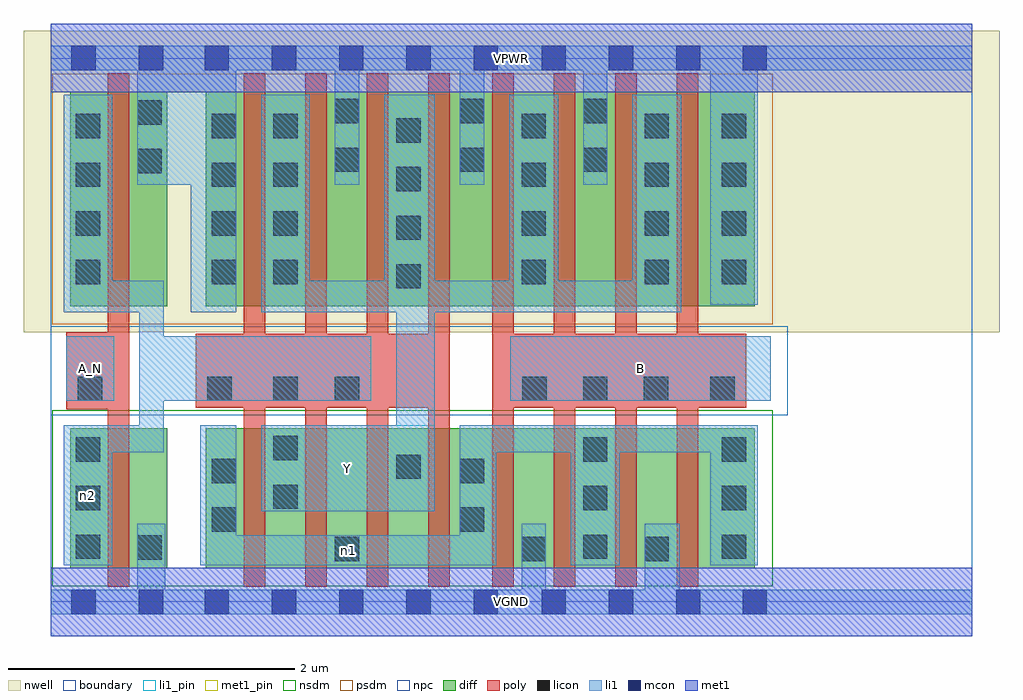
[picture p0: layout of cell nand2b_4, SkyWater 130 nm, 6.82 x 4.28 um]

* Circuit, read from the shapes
.subckt nand2b_4 A_N B VGND VPWR Y n1 n2
XM1 VGND A_N n2 VSUBS sky130_fd_pr__nfet_01v8 w=0.98 l=0.15
XM2 Y n2 n1 VSUBS sky130_fd_pr__nfet_01v8 w=0.98 l=0.15 m=4
XM3 VGND B n1 VSUBS sky130_fd_pr__nfet_01v8 w=0.98 l=0.15 m=4
XM4 VPWR A_N n2 n3 sky130_fd_pr__pfet_01v8 w=1.5 l=0.15
XM5 Y n2 VPWR n3 sky130_fd_pr__pfet_01v8 w=1.5 l=0.15 m=4
XM6 Y B VPWR n3 sky130_fd_pr__pfet_01v8 w=1.5 l=0.15 m=4
.ends

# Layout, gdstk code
import gdstk
lib = gdstk.Library(unit=1e-6, precision=1e-09)
def R(c, l, rs):  # rectangles x0, y0, x1, y1
    for r in rs: c.add(gdstk.rectangle(r[:2], r[2:], *l))
def A(c, l, x, y, w, h, nx, ny, dx, dy):  # array of equal rectangles
    R(c, l, [(x+i*dx, y+j*dy, x+i*dx+w, y+j*dy+h) for i in range(nx) for j in range(ny)])
nwell = (64, 20)
diff = (65, 20)
poly = (66, 20)
licon = (66, 44)
li1_pin = (67, 16)
li1 = (67, 20)
mcon = (67, 44)
met1_pin = (68, 16)
met1 = (68, 20)
nsdm = (93, 44)
psdm = (94, 20)
npc = (95, 20)
boundary = (235, 4)

nand2b_4 = lib.new_cell('nand2b_4')
R(nand2b_4, nwell, [(-0.19,1.885,6.63,3.99), (0,1.885,6.44,3.99)])
R(nand2b_4, diff, [(0.135,0.235,0.815,1.215), (1.085,0.235,4.92,1.215), (0.135,2.065,0.815,3.565), (1.085,2.065,4.92,3.565)])
A(nand2b_4, poly, 1.35, 0.105, 0.15, 3.59, 4, 1, 0.43, 0)
A(nand2b_4, poly, 3.085, 0.105, 0.15, 3.59, 4, 1, 0.43, 0)
R(nand2b_4, poly, [(0.4,0.105,0.55,3.695), (0.11,1.345,0.55,1.885), (1.015,1.355,2.79,1.875), (3.085,1.355,4.86,1.875)])
A(nand2b_4, licon, 0.175, 0.3, 0.17, 0.17, 1, 3, 0, 0.34)
A(nand2b_4, licon, 3.72, 0.3, 0.17, 0.17, 1, 3, 0, 0.34)
A(nand2b_4, licon, 4.69, 0.3, 0.17, 0.17, 1, 3, 0, 0.34)
A(nand2b_4, licon, 3.295, 1.405, 0.17, 0.17, 3, 1, 0.425, 0)
A(nand2b_4, licon, 2.415, 2.19, 0.17, 0.17, 1, 4, 0, 0.34)
A(nand2b_4, licon, 0.175, 2.22, 0.17, 0.17, 1, 4, 0, 0.34)
A(nand2b_4, licon, 1.125, 2.22, 0.17, 0.17, 1, 4, 0, 0.34)
A(nand2b_4, licon, 1.555, 2.22, 0.17, 0.17, 1, 4, 0, 0.34)
A(nand2b_4, licon, 3.29, 2.22, 0.17, 0.17, 1, 4, 0, 0.34)
A(nand2b_4, licon, 4.15, 2.22, 0.17, 0.17, 1, 4, 0, 0.34)
A(nand2b_4, licon, 4.69, 2.22, 0.17, 0.17, 1, 4, 0, 0.34)
R(nand2b_4, licon, [(1.985,0.285,2.155,0.455), (3.29,0.285,3.46,0.455), (4.15,0.285,4.32,0.455), (0.605,0.295,0.775,0.465), (1.125,0.49,1.295,0.66), (2.86,0.49,3.03,0.66), (1.555,0.65,1.725,0.82), (1.125,0.83,1.295,1), (2.86,0.83,3.03,1), (2.415,0.86,2.585,1.03), (1.555,0.99,1.725,1.16), (0.19,1.405,0.36,1.575), (1.095,1.405,1.265,1.575), (1.555,1.405,1.725,1.575), (1.985,1.405,2.155,1.575), (4.61,1.405,4.78,1.575), (0.605,2.995,0.775,3.165), (1.985,3.005,2.155,3.175), (2.86,3.005,3.03,3.175), (3.72,3.005,3.89,3.175), (0.605,3.335,0.775,3.505), (1.985,3.345,2.155,3.515), (2.86,3.345,3.03,3.515), (3.72,3.345,3.89,3.515)])
R(nand2b_4, li1_pin, [(1.47,0.635,2.685,1.235), (0.11,1.405,0.445,1.855), (3.21,1.405,5.03,1.855)])
R(nand2b_4, li1, [(0,-0.085,6.44,0.085), (0.605,-0.085,0.8,0.545), (3.29,-0.085,3.46,0.545), (4.15,-0.085,4.395,0.545), (0.09,0.255,0.43,1.235), (1.045,0.255,3.115,0.465), (1.045,0.255,1.295,1.235), (2.86,0.255,3.115,1.235), (3.635,0.255,3.975,1.235), (4.61,0.255,4.94,1.235), (1.47,0.635,2.685,1.235), (2.415,0.635,2.685,3.545), (0.09,1.045,0.79,1.235), (0.62,1.045,0.79,2.245), (2.86,1.045,4.94,1.235), (0.11,1.405,0.445,1.855), (0.62,1.405,2.24,1.855), (3.21,1.405,5.03,1.855), (0.09,2.025,0.43,3.545), (0.09,2.025,0.79,2.245), (0.98,2.025,1.295,3.885), (1.47,2.025,1.81,3.545), (1.47,2.025,4.405,2.245), (2.33,2.025,2.685,3.545), (3.205,2.025,3.545,3.545), (4.065,2.025,4.405,3.545), (4.61,2.075,4.94,3.885), (0.605,2.915,1.295,3.715), (1.985,2.915,2.155,3.885), (2.86,2.915,3.03,3.885), (3.72,2.915,3.89,3.885), (0,3.715,6.44,3.885)])
A(nand2b_4, mcon, 1.075, -0.085, 0.17, 0.17, 5, 2, 0.47, 3.8)
A(nand2b_4, mcon, 3.43, -0.085, 0.17, 0.17, 3, 2, 0.47, 3.8)
R(nand2b_4, mcon, [(0.145,-0.085,0.315,0.085), (0.615,-0.085,0.785,0.085), (4.835,-0.085,5.005,0.085), (0.145,3.715,0.315,3.885), (0.615,3.715,0.785,3.885), (4.835,3.715,5.005,3.885)])
R(nand2b_4, met1_pin, [(0,-0.24,6.44,0.24), (0,3.56,6.44,4.04)])
R(nand2b_4, met1, [(0,-0.24,6.44,0.24), (0,3.56,6.44,4.04)])
R(nand2b_4, nsdm, [(0.01,0.11,5.045,1.34)])
R(nand2b_4, psdm, [(0.01,1.94,5.045,3.69)])
R(nand2b_4, npc, [(0,1.305,5.15,1.925)])
R(nand2b_4, boundary, [(0,0,6.44,3.8)])
nand2b_4.add(gdstk.Label('A_N', (0.277,1.63), layer=67, texttype=5))
nand2b_4.add(gdstk.Label('B', (4.12,1.63), layer=67, texttype=5))
nand2b_4.add(gdstk.Label('Y', (2.077,0.935), layer=67, texttype=5))
nand2b_4.add(gdstk.Label('n1', (2.08,0.36), layer=67, texttype=5))
nand2b_4.add(gdstk.Label('n2', (0.26,0.745), layer=67, texttype=5))
nand2b_4.add(gdstk.Label('VPWR', (3.22,3.8), layer=68, texttype=5))
nand2b_4.add(gdstk.Label('VGND', (3.22,0), layer=68, texttype=5))
nand2b_4.add(gdstk.Label('A_N', (0.277,1.63), layer=67, texttype=16))
nand2b_4.add(gdstk.Label('B', (4.12,1.63), layer=67, texttype=16))
nand2b_4.add(gdstk.Label('Y', (2.077,0.935), layer=67, texttype=16))
nand2b_4.add(gdstk.Label('VPWR', (3.22,3.8), layer=68, texttype=16))
nand2b_4.add(gdstk.Label('VGND', (3.22,0), layer=68, texttype=16))

lib.write_gds('nand2b_4.gds')
